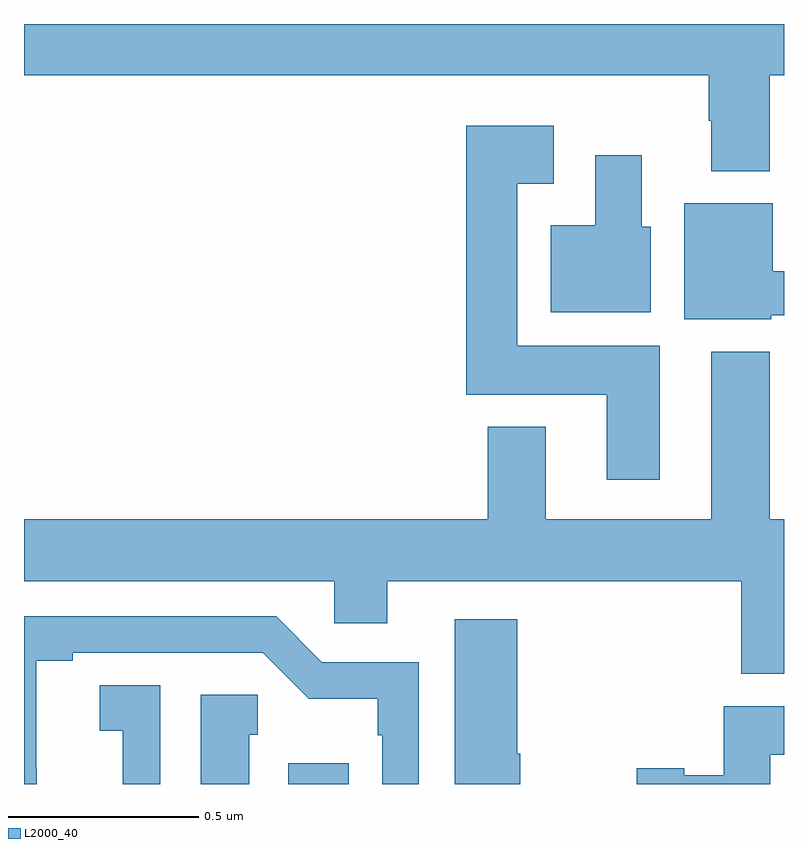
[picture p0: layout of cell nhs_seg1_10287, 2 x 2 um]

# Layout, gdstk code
import gdstk
lib = gdstk.Library(unit=1e-6, precision=1e-09)
def R(c, l, rs):  # rectangles x0, y0, x1, y1
    for r in rs: c.add(gdstk.rectangle(r[:2], r[2:], *l))
def P(c, l, *ps):  # polygons
    for p in ps: c.add(gdstk.Polygon(p, *l))
L2000_40 = (2000, 40)

nhs_seg1_10287 = lib.new_cell('nhs_seg1_10287')
R(nhs_seg1_10287, L2000_40, [(239.696,551.199,239.854,551.254)])
P(nhs_seg1_10287, L2000_40, [(240.962,553.064),(241,553.064),(241,553.199),(239,553.199),(239,553.064),(240.802,553.064),(240.802,552.944),(240.809,552.944),(240.809,552.812),(240.962,552.812)],
  [(240.673,552.352),(240.298,552.352),(240.298,552.779),(240.394,552.779),(240.394,552.931),(240.164,552.931),(240.164,552.224),(240.533,552.224),(240.533,552),(240.673,552)],
  [(240.649,552.666),(240.625,552.666),(240.625,552.853),(240.503,552.853),(240.503,552.67),(240.386,552.67),(240.386,552.44),(240.649,552.44)],
  [(240.966,552.432),(241,552.432),(241,552.548),(240.97,552.548),(240.97,552.727),(240.737,552.727),(240.737,552.422),(240.966,552.422)],
  [(241,551.896),(240.962,551.896),(240.962,552.337),(240.809,552.337),(240.809,551.896),(240.373,551.896),(240.373,552.139),(240.221,552.139),(240.221,551.896),(239,551.896),(239,551.732),(239.817,551.732),(239.817,551.622),(239.956,551.622),(239.956,551.732),(240.887,551.732),(240.887,551.489),(241,551.489)],
  [(239.034,551.241),(239.032,551.241),(239.032,551.524),(239.128,551.524),(239.128,551.544),(239.628,551.544),(239.749,551.423),(239.931,551.423),(239.931,551.327),(239.943,551.327),(239.943,551.199),(240.039,551.199),(240.039,551.52),(239.784,551.52),(239.664,551.64),(239,551.64),(239,551.199),(239.034,551.199)],
  [(240.306,551.278),(240.298,551.278),(240.298,551.632),(240.134,551.632),(240.134,551.199),(240.306,551.199)],
  [(239.358,551.459),(239.199,551.459),(239.199,551.339),(239.26,551.339),(239.26,551.199),(239.358,551.199)],
  [(239.593,551.328),(239.615,551.328),(239.615,551.434),(239.465,551.434),(239.465,551.199),(239.593,551.199)],
  [(240.964,551.276),(241,551.276),(241,551.404),(240.842,551.404),(240.842,551.222),(240.738,551.222),(240.738,551.24),(240.613,551.24),(240.613,551.199),(240.964,551.199)])

lib.write_gds('nhs_seg1_10287.gds')
